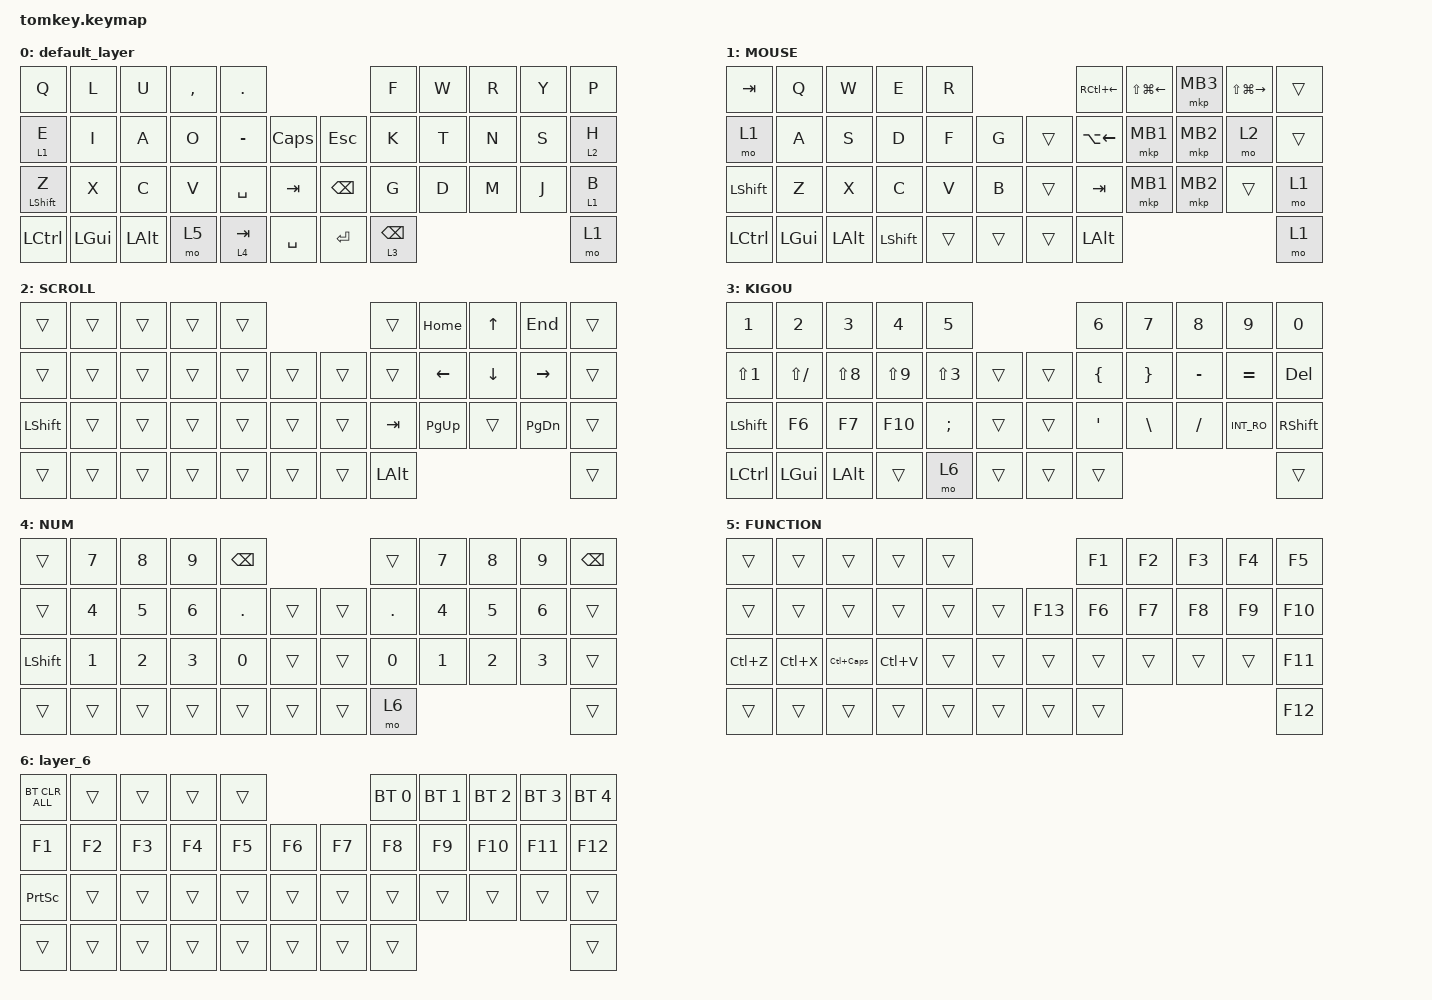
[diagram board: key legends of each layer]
#include <behaviors.dtsi>
#include <dt-bindings/zmk/bt.h>
#include <dt-bindings/zmk/keys.h>
#include <dt-bindings/zmk/pointing.h>

/ {
    keymap {
        compatible = "zmk,keymap";

        default_layer {
            bindings = <
&kp Q             &kp L         &kp U         &kp COMMA  &kp PERIOD                                   &kp F            &kp W  &kp R  &kp Y  &kp P
&lt 1 E           &kp I         &kp A         &kp O      &kp MINUS   &kp CAPSLOCK      &kp ESCAPE     &kp K            &kp T  &kp N  &kp S  &lt 2 H
&mt LEFT_SHIFT Z  &kp X         &kp C         &kp V      &kp SPACE   &kp TAB           &kp BACKSPACE  &kp G            &kp D  &kp M  &kp J  &lt 1 B
&kp LCTRL         &kp LEFT_GUI  &kp LEFT_ALT  &mo 5      &lt 4 TAB   &kp SPACE         &kp ENTER      &lt 3 BACKSPACE                       &mo 1
            >;
        };

        MOUSE {
            bindings = <
&kp TAB         &kp Q         &kp W         &kp E           &kp R                       &kp RC(LEFT_ARROW)  &kp LS(LG(LEFT_ARROW))  &mkp MB3  &kp LS(LG(RIGHT_ARROW))  &trans
&mo 1           &kp A         &kp S         &kp D           &kp F   &kp G       &trans  &kp LA(LEFT_ARROW)  &mkp MB1                &mkp MB2  &mo 2                    &trans
&kp LEFT_SHIFT  &kp Z         &kp X         &kp C           &kp V   &kp B       &trans  &kp TAB             &mkp MB1                &mkp MB2  &trans                   &mo 1
&kp LCTRL       &kp LEFT_GUI  &kp LEFT_ALT  &kp LEFT_SHIFT  &trans  &trans      &trans  &kp LEFT_ALT                                                                   &mo 1
            >;
        };

        SCROLL {
            bindings = <
&trans          &trans  &trans  &trans  &trans                      &trans        &kp HOME        &kp UP_ARROW    &kp END          &trans
&trans          &trans  &trans  &trans  &trans  &trans      &trans  &trans        &kp LEFT_ARROW  &kp DOWN_ARROW  &kp RIGHT_ARROW  &trans
&kp LEFT_SHIFT  &trans  &trans  &trans  &trans  &trans      &trans  &kp TAB       &kp PAGE_UP     &trans          &kp PAGE_DOWN    &trans
&trans          &trans  &trans  &trans  &trans  &trans      &trans  &kp LEFT_ALT                                                   &trans
            >;
        };

        KIGOU {
            bindings = <
&kp NUMBER_1      &kp NUMBER_2   &kp NUMBER_3  &kp NUMBER_4  &kp N5                                &kp NUMBER_6    &kp N7           &kp N8     &kp N9      &kp N0
&kp LS(N1)        &kp LS(SLASH)  &kp LS(N8)    &kp LS(N9)    &kp LS(NUMBER_3)  &trans      &trans  &kp LEFT_BRACE  &kp RIGHT_BRACE  &kp MINUS  &kp EQUAL   &kp DEL
&kp LEFT_SHIFT    &kp F6         &kp F7        &kp F10       &kp SEMICOLON     &trans      &trans  &kp APOS        &kp BACKSLASH    &kp SLASH  &kp INT_RO  &kp RIGHT_SHIFT
&kp LEFT_CONTROL  &kp LEFT_GUI   &kp LEFT_ALT  &trans        &mo 6             &trans      &trans  &trans                                                  &trans
            >;
        };

        NUM {
            bindings = <
&trans          &kp NUMBER_7  &kp NUMBER_8  &kp N9        &kp BACKSPACE                      &trans        &kp NUMBER_7  &kp NUMBER_8  &kp NUMBER_9  &kp BACKSPACE
&trans          &kp NUMBER_4  &kp NUMBER_5  &kp NUMBER_6  &kp PERIOD     &trans      &trans  &kp PERIOD    &kp NUMBER_4  &kp NUMBER_5  &kp NUMBER_6  &trans
&kp LEFT_SHIFT  &kp NUMBER_1  &kp NUMBER_2  &kp NUMBER_3  &kp N0         &trans      &trans  &kp NUMBER_0  &kp NUMBER_1  &kp NUMBER_2  &kp NUMBER_3  &trans
&trans          &trans        &trans        &trans        &trans         &trans      &trans  &mo 6                                                   &trans
            >;
        };

        FUNCTION {
            bindings = <
&trans     &trans     &trans        &trans     &trans                       &kp F1  &kp F2  &kp F3  &kp F4  &kp F5
&trans     &trans     &trans        &trans     &trans  &trans      &kp F13  &kp F6  &kp F7  &kp F8  &kp F9  &kp F10
&kp LC(Z)  &kp LC(X)  &kp LC(CAPS)  &kp LC(V)  &trans  &trans      &trans   &trans  &trans  &trans  &trans  &kp F11
&trans     &trans     &trans        &trans     &trans  &trans      &trans   &trans                          &kp F12
            >;
        };

        layer_6 {
            bindings = <
&bt BT_CLR_ALL   &trans  &trans  &trans  &trans                      &bt BT_SEL 0  &bt BT_SEL 1  &bt BT_SEL 2  &bt BT_SEL 3  &bt BT_SEL 4
&kp F1           &kp F2  &kp F3  &kp F4  &kp F5  &kp F6      &kp F7  &kp F8        &kp F9        &kp F10       &kp F11       &kp F12
&kp PRINTSCREEN  &trans  &trans  &trans  &trans  &trans      &trans  &trans        &trans        &trans        &trans        &trans
&trans           &trans  &trans  &trans  &trans  &trans      &trans  &trans                                                  &trans
            >;
        };
    };
};
